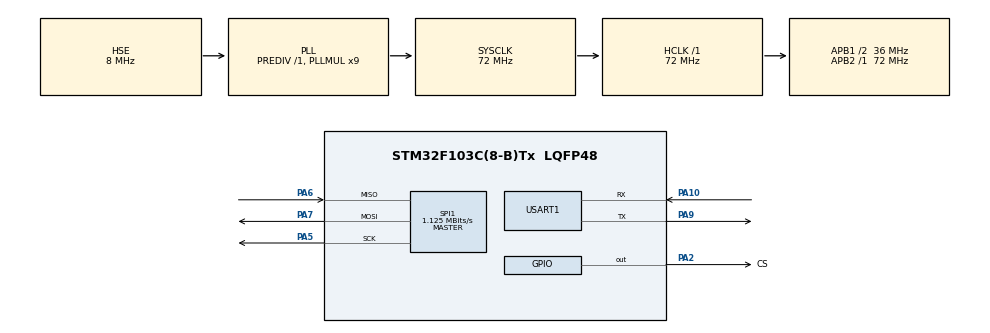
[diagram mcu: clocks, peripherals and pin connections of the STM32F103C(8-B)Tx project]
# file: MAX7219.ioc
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Mcu.Family=STM32F1
Mcu.Name=STM32F103C(8-B)Tx
Mcu.Package=LQFP48
NVIC.PriorityGroup=NVIC_PRIORITYGROUP_4
PA10.Mode=Asynchronous
PA10.Signal=USART1_RX
PA13.Mode=Serial_Wire
PA13.Signal=SYS_JTMS-SWDIO
PA14.Mode=Serial_Wire
PA14.Signal=SYS_JTCK-SWCLK
PA2.GPIO_Label=CS
PA2.Signal=GPIO_Output
PA5.Mode=Full_Duplex_Master
PA5.Signal=SPI1_SCK
PA6.Mode=Full_Duplex_Master
PA6.Signal=SPI1_MISO
PA7.Mode=Full_Duplex_Master
PA7.Signal=SPI1_MOSI
PA9.Mode=Asynchronous
PA9.Signal=USART1_TX
PD0-OSC_IN.Mode=HSE-External-Oscillator
PD0-OSC_IN.Signal=RCC_OSC_IN
PD1-OSC_OUT.Mode=HSE-External-Oscillator
PD1-OSC_OUT.Signal=RCC_OSC_OUT
ProjectManager.HeapSize=0x200
ProjectManager.StackSize=0x400
ProjectManager.TargetToolchain=Makefile
RCC.AHBFreq_Value=72000000
RCC.APB1CLKDivider=RCC_HCLK_DIV2
RCC.APB1Freq_Value=36000000
RCC.APB1TimFreq_Value=72000000
RCC.APB2Freq_Value=72000000
RCC.APB2TimFreq_Value=72000000
RCC.HCLKFreq_Value=72000000
RCC.PLLMUL=RCC_PLL_MUL9
RCC.PLLSourceVirtual=RCC_PLLSOURCE_HSE
RCC.SYSCLKFreq_VALUE=72000000
RCC.SYSCLKSource=RCC_SYSCLKSOURCE_PLLCLK
RCC.USBFreq_Value=72000000
SPI1.BaudRatePrescaler=SPI_BAUDRATEPRESCALER_64
SPI1.CalculateBaudRate=1.125 MBits/s
SPI1.Direction=SPI_DIRECTION_2LINES
SPI1.Mode=SPI_MODE_MASTER
SPI1.VirtualType=VM_MASTER
USART1.VirtualMode=VM_ASYNC
board=custom

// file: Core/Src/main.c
/* USER CODE BEGIN Header */
/**
  ******************************************************************************
  * @file           : main.c
  * @brief          : Main program body
  ******************************************************************************
  * @attention
  *
  * Copyright (c) 2026 STMicroelectronics.
  * All rights reserved.
  *
  * This software is licensed under terms that can be found in the LICENSE file
  * in the root directory of this software component.
  * If no LICENSE file comes with this software, it is provided AS-IS.
  *
  ******************************************************************************
  */
/* USER CODE END Header */
#include "main.h"

/* USER CODE BEGIN Includes */
#include "../Inc/bits_flag.h"
#include "../Inc/max_func.h"
/* USER CODE END Includes */

UART_HandleTypeDef huart1;

void SystemClock_Config(void);
static void MX_GPIO_Init(void);
static void MX_SPI1_Init(void);
static void MX_USART1_UART_Init(void);

int main(void)
{

  /* MCU Configuration--------------------------------------------------------*/

  /* Reset of all peripherals, Initializes the Flash interface and the Systick. */
  HAL_Init();

  /* Configure the system clock */
  SystemClock_Config();

  /* Initialize all configured peripherals */
  MX_GPIO_Init();
  MX_SPI1_Init();
  MX_USART1_UART_Init();
  /* USER CODE BEGIN 2 */

  max_init();

  uint8_t arr[8][8];
  uint8_t rx[5];

  create_array(arr);
  refresh_max(arr);
  /* USER CODE END 2 */

  /* Infinite loop */
  while (1)
  {

    /* USER CODE BEGIN 3 */
    HAL_UART_Receive(&huart1, rx, 5, HAL_MAX_DELAY);
    get_rx(arr, 4, rx[0]);
    get_rx(arr, 3, rx[1]);
    change_dot(arr, 3, 2, 8, 1);
    change_dot(arr, 3, 7, 8, 1);
    get_rx(arr, 2, rx[3]);
    get_rx(arr, 1, rx[4]);

    refresh_max(arr);
    // HAL_Delay(2000);
  }
  /* USER CODE END 3 */
}

void SystemClock_Config(void)
{
  RCC_OscInitTypeDef RCC_OscInitStruct = {0};
  RCC_ClkInitTypeDef RCC_ClkInitStruct = {0};

  /** Initializes the RCC Oscillators according to the specified parameters
  * in the RCC_OscInitTypeDef structure.
  */
  RCC_OscInitStruct.OscillatorType = RCC_OSCILLATORTYPE_HSE;
  RCC_OscInitStruct.HSEState = RCC_HSE_ON;
  RCC_OscInitStruct.HSEPredivValue = RCC_HSE_PREDIV_DIV1;
  RCC_OscInitStruct.HSIState = RCC_HSI_ON;
  RCC_OscInitStruct.PLL.PLLState = RCC_PLL_ON;
  RCC_OscInitStruct.PLL.PLLSource = RCC_PLLSOURCE_HSE;
  RCC_OscInitStruct.PLL.PLLMUL = RCC_PLL_MUL9;
  if (HAL_RCC_OscConfig(&RCC_OscInitStruct) != HAL_OK)
  {
    Error_Handler();
  }

  /** Initializes the CPU, AHB and APB buses clocks
  */
  RCC_ClkInitStruct.ClockType = RCC_CLOCKTYPE_HCLK|RCC_CLOCKTYPE_SYSCLK
                              |RCC_CLOCKTYPE_PCLK1|RCC_CLOCKTYPE_PCLK2;
  RCC_ClkInitStruct.SYSCLKSource = RCC_SYSCLKSOURCE_PLLCLK;
  RCC_ClkInitStruct.AHBCLKDivider = RCC_SYSCLK_DIV1;
  RCC_ClkInitStruct.APB1CLKDivider = RCC_HCLK_DIV2;
  RCC_ClkInitStruct.APB2CLKDivider = RCC_HCLK_DIV1;

  if (HAL_RCC_ClockConfig(&RCC_ClkInitStruct, FLASH_LATENCY_2) != HAL_OK)
  {
    Error_Handler();
  }
}

static void MX_SPI1_Init(void)
{

  /* SPI1 parameter configuration*/
  hspi1.Instance = SPI1;
  hspi1.Init.Mode = SPI_MODE_MASTER;
  hspi1.Init.Direction = SPI_DIRECTION_2LINES;
  hspi1.Init.DataSize = SPI_DATASIZE_8BIT;
  hspi1.Init.CLKPolarity = SPI_POLARITY_LOW;
  hspi1.Init.CLKPhase = SPI_PHASE_1EDGE;
  hspi1.Init.NSS = SPI_NSS_SOFT;
  hspi1.Init.BaudRatePrescaler = SPI_BAUDRATEPRESCALER_64;
  hspi1.Init.FirstBit = SPI_FIRSTBIT_MSB;
  hspi1.Init.TIMode = SPI_TIMODE_DISABLE;
  hspi1.Init.CRCCalculation = SPI_CRCCALCULATION_DISABLE;
  hspi1.Init.CRCPolynomial = 10;
  if (HAL_SPI_Init(&hspi1) != HAL_OK)
  {
    Error_Handler();
  }

}

static void MX_USART1_UART_Init(void)
{

  huart1.Instance = USART1;
  huart1.Init.BaudRate = 115200;
  huart1.Init.WordLength = UART_WORDLENGTH_8B;
  huart1.Init.StopBits = UART_STOPBITS_1;
  huart1.Init.Parity = UART_PARITY_NONE;
  huart1.Init.Mode = UART_MODE_TX_RX;
  huart1.Init.HwFlowCtl = UART_HWCONTROL_NONE;
  huart1.Init.OverSampling = UART_OVERSAMPLING_16;
  if (HAL_UART_Init(&huart1) != HAL_OK)
  {
    Error_Handler();
  }

}

static void MX_GPIO_Init(void)
{
  GPIO_InitTypeDef GPIO_InitStruct = {0};

  /* GPIO Ports Clock Enable */
  __HAL_RCC_GPIOD_CLK_ENABLE();
  __HAL_RCC_GPIOA_CLK_ENABLE();

  /*Configure GPIO pin Output Level */
  HAL_GPIO_WritePin(CS_GPIO_Port, CS_Pin, GPIO_PIN_RESET);

  /*Configure GPIO pin : CS_Pin */
  GPIO_InitStruct.Pin = CS_Pin;
  GPIO_InitStruct.Mode = GPIO_MODE_OUTPUT_PP;
  GPIO_InitStruct.Pull = GPIO_NOPULL;
  GPIO_InitStruct.Speed = GPIO_SPEED_FREQ_LOW;
  HAL_GPIO_Init(CS_GPIO_Port, &GPIO_InitStruct);

}

void Error_Handler(void)
{
  __disable_irq();
  while (1)
  {
  }
}
